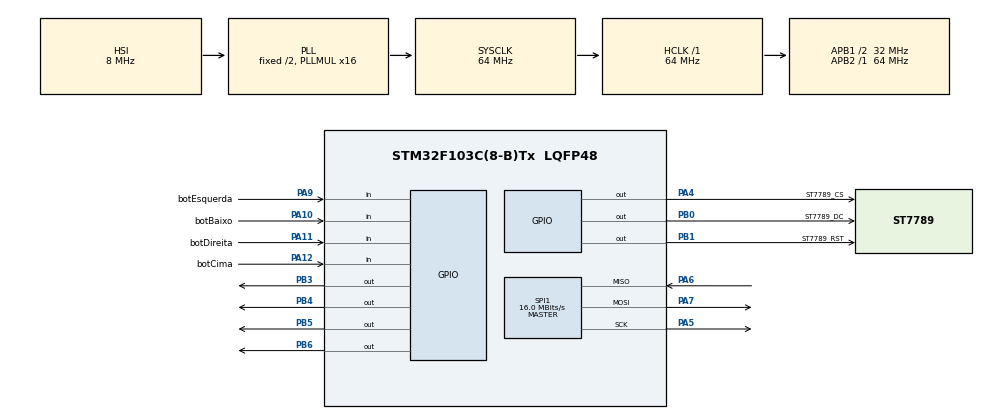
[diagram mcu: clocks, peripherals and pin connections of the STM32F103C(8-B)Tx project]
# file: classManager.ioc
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Mcu.Family=STM32F1
Mcu.Name=STM32F103C(8-B)Tx
Mcu.Package=LQFP48
NVIC.PriorityGroup=NVIC_PRIORITYGROUP_4
PA10.GPIO_Label=botBaixo
PA10.GPIO_PuPd=GPIO_PULLUP
PA10.Signal=GPIO_Input
PA11.GPIO_Label=botDireita
PA11.GPIO_PuPd=GPIO_PULLUP
PA11.Signal=GPIO_Input
PA12.GPIO_Label=botCima
PA12.GPIO_PuPd=GPIO_PULLUP
PA12.Signal=GPIO_Input
PA13.Mode=Serial_Wire
PA13.Signal=SYS_JTMS-SWDIO
PA14.Mode=Serial_Wire
PA14.Signal=SYS_JTCK-SWCLK
PA4.GPIO_Label=ST7789_CS
PA4.Signal=GPIO_Output
PA5.Mode=Full_Duplex_Master
PA5.Signal=SPI1_SCK
PA6.Mode=Full_Duplex_Master
PA6.Signal=SPI1_MISO
PA7.Mode=Full_Duplex_Master
PA7.Signal=SPI1_MOSI
PA9.GPIO_Label=botEsquerda
PA9.GPIO_PuPd=GPIO_PULLUP
PA9.Signal=GPIO_Input
PB0.GPIO_Label=ST7789_DC
PB0.Signal=GPIO_Output
PB1.GPIO_Label=ST7789_RST
PB1.Signal=GPIO_Output
PB3.Signal=GPIO_Output
PB4.Signal=GPIO_Output
PB5.Signal=GPIO_Output
PB6.Signal=GPIO_Output
ProjectManager.HeapSize=0x200
ProjectManager.StackSize=0x400
ProjectManager.TargetToolchain=STM32CubeIDE
RCC.AHBFreq_Value=64000000
RCC.APB1CLKDivider=RCC_HCLK_DIV2
RCC.APB1Freq_Value=32000000
RCC.APB1TimFreq_Value=64000000
RCC.APB2Freq_Value=64000000
RCC.APB2TimFreq_Value=64000000
RCC.HCLKFreq_Value=64000000
RCC.PLLMUL=RCC_PLL_MUL16
RCC.SYSCLKFreq_VALUE=64000000
RCC.SYSCLKSource=RCC_SYSCLKSOURCE_PLLCLK
RCC.USBFreq_Value=64000000
SPI1.BaudRatePrescaler=SPI_BAUDRATEPRESCALER_4
SPI1.CLKPolarity=SPI_POLARITY_HIGH
SPI1.CalculateBaudRate=16.0 MBits/s
SPI1.Direction=SPI_DIRECTION_2LINES
SPI1.Mode=SPI_MODE_MASTER
SPI1.VirtualType=VM_MASTER
board=custom

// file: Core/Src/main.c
/* USER CODE BEGIN Header */
/**
 ******************************************************************************
 * @file           : main.c
 * @brief          : Main program body
 ******************************************************************************
 * @attention
 *
 * <h2><center>&copy; Copyright (c) 2026 STMicroelectronics.
 * All rights reserved.</center></h2>
 *
 * This software component is licensed by ST under BSD 3-Clause license,
 * the "License"; You may not use this file except in compliance with the
 * License. You may obtain a copy of the License at:
 *                        opensource.org/licenses/BSD-3-Clause
 *
 ******************************************************************************
 */
/* USER CODE END Header */
#include "main.h"

/* USER CODE BEGIN Includes */
#include "ST7789\st7789.h"
#include <stdio.h>
#include <stdlib.h>
#include <stdbool.h>
#include <time.h>
#include <string.h>
/* USER CODE END Includes */

/* USER CODE BEGIN PD */
#define botEsqLer HAL_GPIO_ReadPin(botEsquerda_GPIO_Port, botEsquerda_Pin)
#define botDirLer HAL_GPIO_ReadPin(botDireita_GPIO_Port, botDireita_Pin)
#define botCmaLer HAL_GPIO_ReadPin(botCima_GPIO_Port, botCima_Pin)
#define botBxoLer HAL_GPIO_ReadPin(botBaixo_GPIO_Port, botBaixo_Pin)

#define tentMaxSenhas 3
#define tempMaxAlunosFora 3

#define roxoDS		0xa81f
#define verdeFODA	0x0463
/* USER CODE END PD */

SPI_HandleTypeDef hspi1;

/* USER CODE BEGIN PV */
int qntAlunosSala;
int qntAlunosReg;
int qntAlunosFora;
int qntTotalSaidas;
int indiceSaidaPareamento = 0;
int qntTotalEntradas;
int capArraySaida = 4;
int capArrayEntrada = 4;
int maxAlunosFora;
uint32_t somaTempos = 0;
uint32_t *arrayTempoSaida = NULL;
uint32_t *arrayTempoEntrada = NULL;
uint32_t *arrayMatriculas = NULL;
uint32_t tempoInicioAula;

/* USER CODE END PV */

void SystemClock_Config(void);
static void MX_GPIO_Init(void);
static void MX_SPI1_Init(void);

/* USER CODE BEGIN 0 */
static void iniciarPrograma(void);
static void entrarSenha(void);
static void definirAlunos(void);
static void interfacePrincipal(void);
static void controlePresenca(int numEnviado);
static void controleSaida(int numEnviado);
static void encerrarPrograma(void);
/* USER CODE END 0 */

int main(void) {

	/* MCU Configuration--------------------------------------------------------*/

	/* Reset of all peripherals, Initializes the Flash interface and the Systick. */
	HAL_Init();

	/* USER CODE BEGIN Init */
	arrayTempoSaida = malloc(capArraySaida * sizeof(uint32_t));
	arrayTempoEntrada = malloc(capArrayEntrada * sizeof(uint32_t));
	// malloc
	/* USER CODE END Init */

	/* Configure the system clock */
	SystemClock_Config();

	/* Initialize all configured peripherals */
	MX_GPIO_Init();
	MX_SPI1_Init();
	/* USER CODE BEGIN 2 */
	ST7789_Init();
	ST7789_Fill_Color(BLACK);
	/* USER CODE END 2 */

	/* Infinite loop */
	while (1) {
		//pegamos todas as funções e botamos em ordem
		iniciarPrograma();
		entrarSenha();
		ST7789_Fill_Color(BLACK);
		ST7789_WriteString(16, 26, "Bem-vindo professor.", Font_16x26, WHITE,
		BLACK);
		HAL_Delay(250);
		ST7789_Fill_Color(BLACK);
		definirAlunos();
		interfacePrincipal();
	}
}

void SystemClock_Config(void) {
	RCC_OscInitTypeDef RCC_OscInitStruct = { 0 };
	RCC_ClkInitTypeDef RCC_ClkInitStruct = { 0 };

	/** Initializes the RCC Oscillators according to the specified parameters
	 * in the RCC_OscInitTypeDef structure.
	 */
	RCC_OscInitStruct.OscillatorType = RCC_OSCILLATORTYPE_HSI;
	RCC_OscInitStruct.HSIState = RCC_HSI_ON;
	RCC_OscInitStruct.HSICalibrationValue = RCC_HSICALIBRATION_DEFAULT;
	RCC_OscInitStruct.PLL.PLLState = RCC_PLL_ON;
	RCC_OscInitStruct.PLL.PLLSource = RCC_PLLSOURCE_HSI_DIV2;
	RCC_OscInitStruct.PLL.PLLMUL = RCC_PLL_MUL16;
	if (HAL_RCC_OscConfig(&RCC_OscInitStruct) != HAL_OK) {
		Error_Handler();
	}
	/** Initializes the CPU, AHB and APB buses clocks
	 */
	RCC_ClkInitStruct.ClockType = RCC_CLOCKTYPE_HCLK | RCC_CLOCKTYPE_SYSCLK
			| RCC_CLOCKTYPE_PCLK1 | RCC_CLOCKTYPE_PCLK2;
	RCC_ClkInitStruct.SYSCLKSource = RCC_SYSCLKSOURCE_PLLCLK;
	RCC_ClkInitStruct.AHBCLKDivider = RCC_SYSCLK_DIV1;
	RCC_ClkInitStruct.APB1CLKDivider = RCC_HCLK_DIV2;
	RCC_ClkInitStruct.APB2CLKDivider = RCC_HCLK_DIV1;

	if (HAL_RCC_ClockConfig(&RCC_ClkInitStruct, FLASH_LATENCY_2) != HAL_OK) {
		Error_Handler();
	}
}

static void MX_SPI1_Init(void) {

	/* SPI1 parameter configuration*/
	hspi1.Instance = SPI1;
	hspi1.Init.Mode = SPI_MODE_MASTER;
	hspi1.Init.Direction = SPI_DIRECTION_2LINES;
	hspi1.Init.DataSize = SPI_DATASIZE_8BIT;
	hspi1.Init.CLKPolarity = SPI_POLARITY_HIGH;
	hspi1.Init.CLKPhase = SPI_PHASE_1EDGE;
	hspi1.Init.NSS = SPI_NSS_SOFT;
	hspi1.Init.BaudRatePrescaler = SPI_BAUDRATEPRESCALER_4;
	hspi1.Init.FirstBit = SPI_FIRSTBIT_MSB;
	hspi1.Init.TIMode = SPI_TIMODE_DISABLE;
	hspi1.Init.CRCCalculation = SPI_CRCCALCULATION_DISABLE;
	hspi1.Init.CRCPolynomial = 10;
	if (HAL_SPI_Init(&hspi1) != HAL_OK) {
		Error_Handler();
	}

}

static void MX_GPIO_Init(void) {
	GPIO_InitTypeDef GPIO_InitStruct = { 0 };

	/* GPIO Ports Clock Enable */
	__HAL_RCC_GPIOA_CLK_ENABLE();
	__HAL_RCC_GPIOB_CLK_ENABLE();

	/*Configure GPIO pin Output Level */
	HAL_GPIO_WritePin(ST7789_CS_GPIO_Port, ST7789_CS_Pin, GPIO_PIN_RESET);

	/*Configure GPIO pin Output Level */
	HAL_GPIO_WritePin(GPIOB,
			ST7789_DC_Pin | ST7789_RST_Pin | GPIO_PIN_3 | GPIO_PIN_4
					| GPIO_PIN_5 | GPIO_PIN_6, GPIO_PIN_RESET);

	/*Configure GPIO pin : ST7789_CS_Pin */
	GPIO_InitStruct.Pin = ST7789_CS_Pin;
	GPIO_InitStruct.Mode = GPIO_MODE_OUTPUT_PP;
	GPIO_InitStruct.Pull = GPIO_NOPULL;
	GPIO_InitStruct.Speed = GPIO_SPEED_FREQ_LOW;
	HAL_GPIO_Init(ST7789_CS_GPIO_Port, &GPIO_InitStruct);

	/*Configure GPIO pins : ST7789_DC_Pin ST7789_RST_Pin PB3 PB4
	 PB5 PB6 */
	GPIO_InitStruct.Pin = ST7789_DC_Pin | ST7789_RST_Pin | GPIO_PIN_3
			| GPIO_PIN_4 | GPIO_PIN_5 | GPIO_PIN_6;
	GPIO_InitStruct.Mode = GPIO_MODE_OUTPUT_PP;
	GPIO_InitStruct.Pull = GPIO_NOPULL;
	GPIO_InitStruct.Speed = GPIO_SPEED_FREQ_LOW;
	HAL_GPIO_Init(GPIOB, &GPIO_InitStruct);

	/*Configure GPIO pins : botEsquerda_Pin botBaixo_Pin botDireita_Pin botCima_Pin */
	GPIO_InitStruct.Pin = botEsquerda_Pin | botBaixo_Pin | botDireita_Pin
			| botCima_Pin;
	GPIO_InitStruct.Mode = GPIO_MODE_INPUT;
	GPIO_InitStruct.Pull = GPIO_PULLUP;
	HAL_GPIO_Init(GPIOA, &GPIO_InitStruct);

}

/* USER CODE BEGIN 4 */
static void esperandoP10(void) {
	bool esperandoApertar = true;

	while (esperandoApertar) {
		GPIO_PinState botLer;
		botLer = botBxoLer;

		if (botLer == 0) {
			esperandoApertar = false;
		}
	}
	ST7789_Fill_Color(BLACK);
}

static void iniciarPrograma(void) {
	ST7789_WriteString(16, 50, "Class Manager", Font_16x26, verdeFODA, BLACK);
	ST7789_WriteString(94, 86, "34-DS", Font_11x18, roxoDS, BLACK);
	ST7789_WriteString(16, 200, "- PRESS PA10 -", Font_16x26, WHITE, BLACK);
	esperandoP10();
	//"printa" a tela inicial e espera o pa10
}

static void gerarSenha(int *senhaRand) {
	srand(HAL_GetTick());
	for (int bananas = 0; bananas < 4; bananas++) {
		int valGerado = (rand() % 4) + 1;
		senhaRand[bananas] = valGerado;
		//gera um numero por ves da senha
	}
}

static void desenharTelaSenha(void) {
	ST7789_WriteString(24, 10, "Entrar Senha", Font_16x26, verdeFODA, BLACK);
	ST7789_DrawFilledRectangle(63, 110, 20, 2, WHITE);
	ST7789_DrawFilledRectangle(93, 110, 20, 2, WHITE);
	ST7789_DrawFilledRectangle(123, 110, 20, 2, WHITE);
	ST7789_DrawFilledRectangle(153, 110, 20, 2, WHITE);
	ST7789_WriteString(110, 150, "1", Font_16x26, WHITE, BLACK);
	ST7789_WriteString(145, 180, "2", Font_16x26, WHITE, BLACK);
	ST7789_WriteString(110, 210, "3", Font_16x26, WHITE, BLACK);
	ST7789_WriteString(75, 180, "4", Font_16x26, WHITE, BLACK);
	//desenha a tela da senha
}
static void escreverSenha(int numEnviado, int qntNumeros, int *senhaEscrita) {
	//MUITO DIFICIL DE ENTENDER mas é facil de usar
	char numStr[3];
	//o char numStr tem três casas
	itoa(numEnviado, numStr, 10);
	//o numero enviado vai ser o numStr uhhhhh puts aqui eu realmente embananei faz tempo que agnt usou eu esqueci como funciona mds
	switch (qntNumeros) {
	//muda para cada "caso"
	case 1:
		ST7789_WriteString(63, 84, numStr, Font_16x26, WHITE, BLACK);
		break;
	case 2:
		ST7789_WriteString(93, 84, numStr, Font_16x26, WHITE, BLACK);
		break;
	case 3:
		ST7789_WriteString(123, 84, numStr, Font_16x26, WHITE, BLACK);
		break;
	case 4:
		ST7789_WriteString(153, 84, numStr, Font_16x26, WHITE, BLACK);
		break;
	}
	senhaEscrita[qntNumeros - 1] = numEnviado;
	//para cada caso de botão (1,2,3 ou 4) ele manda o valor a ser printado no lcd
}

static void enviarNumeroPraSenha(int numEnviado, int qntNumeros,
		int *senhaEscrita) {
	escreverSenha(numEnviado, qntNumeros, senhaEscrita);
	//bizarro // bizarro, cara.
}

static void entrarSenha(void) {
	//meu DEUS que absurdo imagina isso em assembly
	bool senhaCorreta = false;
	int qntNumeros = 0;
	int senhaRand[4];
	//a senha tem 4 "casas"
	int senhaEscrita[4];
	//a senha escrita que é o valor que você manda tambem tem 4 casas
	int numEnviado = 0;
	gerarSenha(senhaRand);
	//gera a senha de uma vês e senhaRand
	desenharTelaSenha();
	//MUITO auto explicativo
	for (int laranjas = 0; laranjas < 3; laranjas++) {
		//adoro o sistema de for que eu criei meu deus
		//aqui é o sistema de escrever a senha
		//qntNumeros é quantos numeros você mandou pra senha e o cap é 4
		//numEnviado é o VALOR do numero da senha (a senha foi a parte mais dificil pq tem o numero da senha real, os valores que agnt manda pra ela checar se asenha tá certa, a senha no display e agnt tendo que fazer malabarismo com esse tanto de string que tambem é uma int ao mesmo tempo foi horrivel)
		while (qntNumeros < 4) {
			if (botEsqLer == 0) {
				HAL_Delay(250);
				qntNumeros++;
				numEnviado = 4;
				enviarNumeroPraSenha(numEnviado, qntNumeros, senhaEscrita);
			} else if (botDirLer == 0) {
				HAL_Delay(250);
				qntNumeros++;
				numEnviado = 2;
				enviarNumeroPraSenha(numEnviado, qntNumeros, senhaEscrita);
			} else if (botCmaLer == 0) {
				HAL_Delay(250);
				qntNumeros++;
				numEnviado = 1;
				enviarNumeroPraSenha(numEnviado, qntNumeros, senhaEscrita);
			} else if (botBxoLer == 0) {
				HAL_Delay(250);
				qntNumeros++;
				numEnviado = 3;
				enviarNumeroPraSenha(numEnviado, qntNumeros, senhaEscrita);
			}
		}
		bool iguais = true;
		for (int roma = 0; roma < 4; roma++) {
			//a fruta romã é uma delicia nhamnham
			if (senhaEscrita[roma] != senhaRand[roma]) {
				iguais = false;
				break;
				//se a senha no array escrito for diferente da senha do array que foi gerado lá atrás ele seta iguais pra false oq pra mim é bem engraçado MAS FUNCIONA TÁ PARA DE JULGAR O CÓDIGO NOSSO ANA LETICIA <3
			}
		}
		if (iguais) {
			//E AI ELE SETA A VARIAVEL BOOL senhaCorreta PRA TRUE KKLOL
			senhaCorreta = true;
			break;
		} else {
			//e se não ele apaga a senha do lcd e volta a qntNumeros pra 0
			ST7789_DrawFilledRectangle(63, 84, 16, 26, BLACK);
			ST7789_DrawFilledRectangle(93, 84, 16, 26, BLACK);
			ST7789_DrawFilledRectangle(123, 84, 16, 26, BLACK);
			ST7789_DrawFilledRectangle(153, 84, 16, 26, BLACK);
			qntNumeros = 0;
			for (int maracujas = 0; maracujas < 4; maracujas++) {
				senhaEscrita[maracujas] = 0;
				//e reseta o array
			}
		}
	}
	if (!senhaCorreta) {
		ST7789_Fill_Color(BLACK);
		ST7789_WriteString(16, 100, "TENTATIVAS MÁXIMAS", Font_16x26, RED,
		BLACK);
		ST7789_WriteString(100, 135, "EXCEDIDAS!", Font_16x26, RED, BLACK);
		while (true) {
			// trava se errar 3 vezes
		} // else continua normal o codigo saindo da função
	}
}

static void desenharTelaAlunos() {
	//tela dos alunos
	ST7789_WriteString(24, 10, "Qnt. Alunos", Font_16x26, verdeFODA, BLACK);
	ST7789_DrawFilledRectangle(100, 110, 50, 2, WHITE);
	ST7789_WriteString(110, 150, "+1", Font_16x26, WHITE, BLACK);
	ST7789_WriteString(145, 180, "-5", Font_16x26, WHITE, BLACK);
	ST7789_WriteString(110, 210, "-1", Font_16x26, WHITE, BLACK);
	ST7789_WriteString(75, 180, "+5", Font_16x26, WHITE, BLACK);
}

static void enviarNumeroAlunos(int numEnviado) {
	//olha a magica
	qntAlunosReg += numEnviado;
	qntAlunosReg = (qntAlunosReg > 999) ? 999 : qntAlunosReg;
	qntAlunosReg = (qntAlunosReg < 0) ? 0 : qntAlunosReg;
	//itoa dnv meu deus
	//numStr agora tem 5 casas pq o numero de alunos maximo é 100 por que certo alguem viu que a maior sala de aula do mundo cabe 150 alunos oque em si é um absurdo, nossa sala nem 50 alunos tem e mal dá pra ter aula
	//além disso se vc se perguntar "mas 100 são 3 casas"
	//algumas coisas tem queterminar com /0 // por ser uma string.
	//portanto alguns numStr vão ter mais 2 caracteres
	char numStr[5];
	itoa(qntAlunosReg, numStr, 10);
	ST7789_DrawFilledRectangle(100, 84, 50, 26, BLACK);
	if (qntAlunosReg > 99) {
		ST7789_WriteString(100, 84, numStr, Font_16x26, WHITE, BLACK);
	} else if (qntAlunosReg > 9) {
		ST7789_WriteString(108, 84, numStr, Font_16x26, WHITE, BLACK);
	} else {
		ST7789_WriteString(116, 84, numStr, Font_16x26, WHITE, BLACK);
	}

}
static void definirAlunos(void) {
	//muito bonitinho que agnt separa as funções "internas" das que desenham no lcd
	desenharTelaAlunos();
	bool definindoAlunos = true;
	int numEnviado = 0;
	while (definindoAlunos) {
		int botoesPressionados = (botEsqLer == 0) + (botDirLer == 0)
				+ (botCmaLer == 0) + (botBxoLer == 0);

		HAL_Delay(150);

		if (botEsqLer == 0 && botoesPressionados == 1) {
			HAL_Delay(250);
			numEnviado = 5;
			enviarNumeroAlunos(numEnviado);

		} else if (botDirLer == 0 && botoesPressionados == 1) {
			HAL_Delay(250);
			numEnviado = -5;
			enviarNumeroAlunos(numEnviado);

		} else if (botCmaLer == 0 && botoesPressionados == 1) {
			HAL_Delay(250);
			numEnviado = 1;
			enviarNumeroAlunos(numEnviado);

		} else if (botBxoLer == 0 && botoesPressionados == 1) {
			HAL_Delay(250);
			numEnviado = -1;
			enviarNumeroAlunos(numEnviado);

		} else if (botoesPressionados >= 2) {
			definindoAlunos = false;
			//assim que agnt terminar de setar os alunos é só clicar 2 botoes ao mesmo tempo que ele seta pra falso
		}
	}
	//me desculpa mas OQUE É UM MALLOC
	//l: memory allocation. stupid.
	arrayMatriculas = realloc(arrayMatriculas, qntAlunosReg * sizeof(int));

	if (arrayMatriculas != NULL) {
		memset(arrayMatriculas, 0, qntAlunosReg * sizeof(int));
	}
}

static int confirmarMatricula(int numEnviado) {
	//essa parte agente se esforçou MUITO mentalmente pra ter a ideia
	//vc muda no proprio debug o valor oque é muito dahora, engraçado e complicado ao mesmo tempo
	if (numEnviado == -1)
		return 1;
	bool matriculaEnviada = false;
	int valMatricula = -1;
	while (!matriculaEnviada) {
		if (valMatricula != -1) {
			if (valMatricula == 0)
				return 0;
			for (int jacas = 0; jacas < qntAlunosReg; jacas++) {
				if (arrayMatriculas[jacas] == 0) {
					arrayMatriculas[jacas] = valMatricula;
					matriculaEnviada = true;
					return 1;
				} else if (valMatricula == arrayMatriculas[jacas])
					return 0;
			}
		}
	}
	return 0;
}

static void removerMatricula(void) {
	for (int cagaitas = (qntAlunosReg - 1); cagaitas >= 0; cagaitas--) {
		if (arrayMatriculas[cagaitas] != 0) {
			arrayMatriculas[cagaitas] = 0;
			break;
		}
	}
}

static void controlePresenca(int numEnviado) {
	int resultadoMatricula = confirmarMatricula(numEnviado);

	if (numEnviado == -1)
		removerMatricula();

	if (resultadoMatricula == 1 || numEnviado == -1) {
		qntAlunosSala += numEnviado;
		qntAlunosSala =
				(qntAlunosSala > qntAlunosReg) ? qntAlunosReg : qntAlunosSala;
		qntAlunosSala = (qntAlunosSala < 0) ? 0 : qntAlunosSala;
		char numStr[5];
		itoa(qntAlunosSala, numStr, 10);
		if (qntAlunosSala > 9) {
			ST7789_DrawFilledRectangle(90, 26, 32, 26, BLACK);
			ST7789_WriteString(90, 26, numStr, Font_16x26, WHITE, BLACK);
		} else if (numEnviado == -1 && qntAlunosSala == 9) {
			ST7789_DrawFilledRectangle(90, 26, 32, 26, BLACK);
			ST7789_WriteString(90, 26, "0", Font_16x26, WHITE, BLACK);
			ST7789_WriteString(106, 26, numStr, Font_16x26, WHITE, BLACK);
		} else {
			ST7789_DrawFilledRectangle(106, 26, 16, 26, BLACK);
			ST7789_WriteString(106, 26, numStr, Font_16x26, WHITE, BLACK);
		}
	} else if (resultadoMatricula == 0) {
		ST7789_WriteString(20, 200, "MATRICULA INVALIDA!", Font_11x18, WHITE,
		BLACK);
		HAL_Delay(2000);
		ST7789_WriteString(20, 200, "MATRICULA INVALIDA!", Font_11x18, BLACK,
		BLACK);
		//como a matricula é sempre 0 no estado não mutado dela
		//se for 0 ela não adiciona ao array
	}
}

static void controleSaida(int numEnviado) {
	//BAGUNÇA AAAAAAAAAAAAAAAAAAAAA
	//o controle de saida tá muito bem feito pelo menos
	//tava fazendo projete no dia ent tudo culpa da livia // fuck you !
	//MUITO BOM TAMBEM A PARTE DOS TICKS MEU DEUS eu demoraria 4 anos pra fazer algo pior que isso
	uint32_t tempTick = HAL_GetTick();

	if (numEnviado == -1 && qntAlunosFora <= 0) {
		return;
	}

	qntAlunosFora += numEnviado;
	qntAlunosFora =
			(qntAlunosFora > maxAlunosFora) ? maxAlunosFora : qntAlunosFora;

	if (numEnviado == 1) {
		qntTotalSaidas++;
		if (qntTotalSaidas >= capArraySaida) {
			int novoCap = capArraySaida * 2;
			uint32_t *temp = realloc(arrayTempoSaida,
					novoCap * sizeof(uint32_t));
			if (temp != NULL) {
				arrayTempoSaida = temp;
				capArraySaida = novoCap;
			}
		}
		arrayTempoSaida[qntTotalSaidas - 1] = tempTick;
	} else if (numEnviado == -1) {
		qntTotalEntradas++;
		if (qntTotalEntradas >= capArrayEntrada) {
			int novoCap = capArrayEntrada * 2;
			uint32_t *temp = realloc(arrayTempoEntrada,
					novoCap * sizeof(uint32_t));
			if (temp != NULL) {
				arrayTempoEntrada = temp;
				capArrayEntrada = novoCap;
			}
		}
		arrayTempoEntrada[qntTotalEntradas - 1] = tempTick;
		if (indiceSaidaPareamento < qntTotalSaidas) {
			uint32_t saida = arrayTempoSaida[indiceSaidaPareamento];

			if (tempTick >= saida) {
				somaTempos += (tempTick - saida);
				indiceSaidaPareamento++;
			}
		}
	}

	int qntDisponivel = maxAlunosFora - qntAlunosFora;

	char numStr[3];
	itoa(qntAlunosFora, numStr, 10);
	ST7789_DrawFilledRectangle(30, 100, 16, 26, BLACK);
	ST7789_WriteString(30, 100, numStr, Font_16x26, RED, BLACK);

	itoa(qntDisponivel, numStr, 10);
	ST7789_DrawFilledRectangle(190, 100, 16, 26, BLACK);
	ST7789_WriteString(190, 100, numStr, Font_16x26, GREEN, BLACK);
}

static void encerrarPrograma(void) {
	int menorQuantidade = indiceSaidaPareamento;

	uint32_t tempoMedioSaidas = 0;
	if (menorQuantidade > 0)
		tempoMedioSaidas = (somaTempos / menorQuantidade) / 1000;
	//matematica 2 B]
	//eletric boogaloo

	uint32_t tempoFimAula = HAL_GetTick();
	uint32_t tempoTotalAula = (tempoFimAula - tempoInicioAula) / 1000;
	//matematica 3 B]
	//o inimigo agora é outro
	ST7789_Fill_Color(BLACK);
	char numStr[11];
	ST7789_WriteString(8, 26, "AULA CONCLUIDA", Font_16x26, WHITE, BLACK);

	ST7789_WriteString(0, 100, "Pres.:", Font_16x26, WHITE, BLACK);
	itoa(qntAlunosSala, numStr, 10);
	ST7789_WriteString(112, 100, numStr, Font_16x26, WHITE, BLACK);

	ST7789_WriteString(0, 130, "Saidas:", Font_16x26, WHITE, BLACK);
	itoa(qntTotalSaidas, numStr, 10);
	ST7789_WriteString(128, 130, numStr, Font_16x26, WHITE, BLACK);

	ST7789_WriteString(0, 160, "Dur.:", Font_16x26, WHITE, BLACK);
	itoa(tempoTotalAula, numStr, 10);
	ST7789_WriteString(96, 160, numStr, Font_16x26, WHITE, BLACK);

	ST7789_WriteString(0, 190, "T.M.S.:", Font_16x26, WHITE, BLACK);
	itoa(tempoMedioSaidas, numStr, 10);
	ST7789_WriteString(144, 190, numStr, Font_16x26, WHITE, BLACK);
	while (1) {
		// FIM DO PROGRAMA
	}
}

static void interfacePrincipal(void) {
	tempoInicioAula = HAL_GetTick();
	maxAlunosFora = (qntAlunosReg > tempMaxAlunosFora) ?
	tempMaxAlunosFora :
															qntAlunosReg;
	ST7789_Fill_Color(BLACK);
	ST7789_WriteString(110, 80, "+", Font_16x26, WHITE, BLACK);
	ST7789_WriteString(145, 110, "E", Font_16x26, GREEN, BLACK);
	ST7789_WriteString(110, 140, "-", Font_16x26, WHITE, BLACK);
	ST7789_WriteString(75, 110, "S", Font_16x26, RED, BLACK);
	ST7789_DrawRectangle(70, 75, 165, 165, WHITE);
	ST7789_WriteString(30, 100, "0", Font_16x26, RED, BLACK);
	char numStr[3];
	itoa(maxAlunosFora, numStr, 10);
	ST7789_WriteString(190, 100, numStr, Font_16x26, GREEN, BLACK);
	ST7789_WriteString(90, 26, "00/", Font_16x26, WHITE, BLACK);
	itoa(qntAlunosReg, numStr, 10);
	ST7789_WriteString(138, 26, numStr, Font_16x26, WHITE, BLACK);
	while (1) {
		int botoesPressionados = (botEsqLer == 0) + (botDirLer == 0)
				+ (botCmaLer == 0) + (botBxoLer == 0);
		HAL_Delay(150);

		if (botEsqLer == 0 && botoesPressionados == 1) {
			HAL_Delay(250);
			int numEnviado = 1;
			controleSaida(numEnviado);
		} else if (botDirLer == 0 && botoesPressionados == 1) {
			HAL_Delay(250);
			int numEnviado = -1;
			controleSaida(numEnviado);
		} else if (botCmaLer == 0 && botoesPressionados == 1) {
			HAL_Delay(250);
			int numEnviado = 1;
			controlePresenca(numEnviado);
		} else if (botBxoLer == 0 && botoesPressionados == 1) {
			HAL_Delay(250);
			int numEnviado = -1;
			controlePresenca(numEnviado);
		} else if (botoesPressionados >= 2) {
			encerrarPrograma();
		}
	}
}
//ai pronto :D
/* USER CODE END 4 */

void Error_Handler(void) {
	__disable_irq();
	while (1) {
	}
}

/************************ (C) COPYRIGHT STMicroelectronics *****END OF FILE****/
